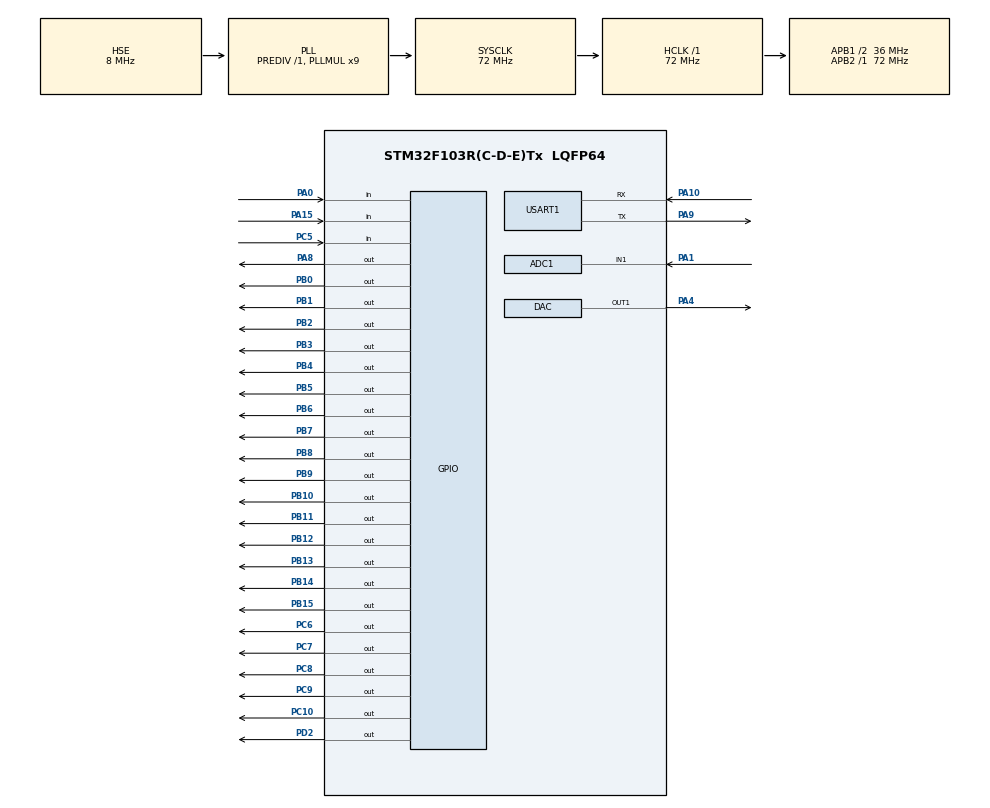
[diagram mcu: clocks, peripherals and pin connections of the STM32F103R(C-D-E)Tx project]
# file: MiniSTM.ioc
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ADC1.Channel-1\#ChannelRegularConversion=ADC_CHANNEL_1
ADC1.EnableAnalogWatchDog=false
ADC1.NbrOfConversionFlag=1
ADC1.Rank-1\#ChannelRegularConversion=1
ADC1.SamplingTime-1\#ChannelRegularConversion=ADC_SAMPLETIME_239CYCLES_5
ADC1.master=1
Mcu.Family=STM32F1
Mcu.Name=STM32F103R(C-D-E)Tx
Mcu.Package=LQFP64
NVIC.PriorityGroup=NVIC_PRIORITYGROUP_4
PA0-WKUP.GPIO_Mode=GPIO_MODE_INPUT
PA0-WKUP.GPIO_PuPd=GPIO_PULLDOWN
PA0-WKUP.Signal=GPIO_Input
PA1.Signal=ADCx_IN1
PA10.Mode=Asynchronous
PA10.Signal=USART1_RX
PA13.Mode=Serial_Wire
PA13.Signal=SYS_JTMS-SWDIO
PA14.Mode=Serial_Wire
PA14.Signal=SYS_JTCK-SWCLK
PA15.GPIO_Mode=GPIO_MODE_INPUT
PA15.GPIO_PuPd=GPIO_PULLUP
PA15.Signal=GPIO_Input
PA4.Signal=COMP_DAC1_group
PA8.GPIO_PuPd=GPIO_PULLUP
PA8.PinState=GPIO_PIN_SET
PA8.Signal=GPIO_Output
PA9.Mode=Asynchronous
PA9.Signal=USART1_TX
PB0.GPIO_PuPd=GPIO_PULLUP
PB0.GPIO_Speed=GPIO_SPEED_FREQ_HIGH
PB0.Signal=GPIO_Output
PB1.GPIO_PuPd=GPIO_PULLUP
PB1.GPIO_Speed=GPIO_SPEED_FREQ_HIGH
PB1.Signal=GPIO_Output
PB10.GPIO_PuPd=GPIO_PULLUP
PB10.GPIO_Speed=GPIO_SPEED_FREQ_HIGH
PB10.Signal=GPIO_Output
PB11.GPIO_PuPd=GPIO_PULLUP
PB11.GPIO_Speed=GPIO_SPEED_FREQ_HIGH
PB11.Signal=GPIO_Output
PB12.GPIO_PuPd=GPIO_PULLUP
PB12.GPIO_Speed=GPIO_SPEED_FREQ_HIGH
PB12.Signal=GPIO_Output
PB13.GPIO_PuPd=GPIO_PULLUP
PB13.GPIO_Speed=GPIO_SPEED_FREQ_HIGH
PB13.Signal=GPIO_Output
PB14.GPIO_PuPd=GPIO_PULLUP
PB14.GPIO_Speed=GPIO_SPEED_FREQ_HIGH
PB14.Signal=GPIO_Output
PB15.GPIO_PuPd=GPIO_PULLUP
PB15.GPIO_Speed=GPIO_SPEED_FREQ_HIGH
PB15.Signal=GPIO_Output
PB2.GPIO_PuPd=GPIO_PULLUP
PB2.GPIO_Speed=GPIO_SPEED_FREQ_HIGH
PB2.Signal=GPIO_Output
PB3.GPIO_PuPd=GPIO_PULLUP
PB3.GPIO_Speed=GPIO_SPEED_FREQ_HIGH
PB3.Signal=GPIO_Output
PB4.GPIO_PuPd=GPIO_PULLUP
PB4.GPIO_Speed=GPIO_SPEED_FREQ_HIGH
PB4.Signal=GPIO_Output
PB5.GPIO_PuPd=GPIO_PULLUP
PB5.GPIO_Speed=GPIO_SPEED_FREQ_HIGH
PB5.Signal=GPIO_Output
PB6.GPIO_PuPd=GPIO_PULLUP
PB6.GPIO_Speed=GPIO_SPEED_FREQ_HIGH
PB6.Signal=GPIO_Output
PB7.GPIO_PuPd=GPIO_PULLUP
PB7.GPIO_Speed=GPIO_SPEED_FREQ_HIGH
PB7.Signal=GPIO_Output
PB8.GPIO_PuPd=GPIO_PULLUP
PB8.GPIO_Speed=GPIO_SPEED_FREQ_HIGH
PB8.Signal=GPIO_Output
PB9.GPIO_PuPd=GPIO_PULLUP
PB9.GPIO_Speed=GPIO_SPEED_FREQ_HIGH
PB9.Signal=GPIO_Output
PC10.GPIO_PuPd=GPIO_PULLUP
PC10.GPIO_Speed=GPIO_SPEED_FREQ_HIGH
PC10.Signal=GPIO_Output
PC14-OSC32_IN.Mode=LSE-External-Oscillator
PC14-OSC32_IN.Signal=RCC_OSC32_IN
PC15-OSC32_OUT.Mode=LSE-External-Oscillator
PC15-OSC32_OUT.Signal=RCC_OSC32_OUT
PC5.GPIO_Mode=GPIO_MODE_INPUT
PC5.GPIO_PuPd=GPIO_PULLUP
PC5.Signal=GPIO_Input
PC6.GPIO_PuPd=GPIO_PULLUP
PC6.GPIO_Speed=GPIO_SPEED_FREQ_HIGH
PC6.Signal=GPIO_Output
PC7.GPIO_PuPd=GPIO_PULLUP
PC7.GPIO_Speed=GPIO_SPEED_FREQ_HIGH
PC7.Signal=GPIO_Output
PC8.GPIO_PuPd=GPIO_PULLUP
PC8.GPIO_Speed=GPIO_SPEED_FREQ_HIGH
PC8.Signal=GPIO_Output
PC9.GPIO_PuPd=GPIO_PULLUP
PC9.GPIO_Speed=GPIO_SPEED_FREQ_HIGH
PC9.Signal=GPIO_Output
PD0-OSC_IN.Mode=HSE-External-Oscillator
PD0-OSC_IN.Signal=RCC_OSC_IN
PD1-OSC_OUT.Mode=HSE-External-Oscillator
PD1-OSC_OUT.Signal=RCC_OSC_OUT
PD2.GPIO_PuPd=GPIO_PULLUP
PD2.PinState=GPIO_PIN_SET
PD2.Signal=GPIO_Output
ProjectManager.HeapSize=0x200
ProjectManager.StackSize=0x400
ProjectManager.TargetToolchain=MDK-ARM V5.32
RCC.ADCPresc=RCC_ADCPCLK2_DIV6
RCC.AHBFreq_Value=72000000
RCC.APB1CLKDivider=RCC_HCLK_DIV2
RCC.APB1Freq_Value=36000000
RCC.APB1TimFreq_Value=72000000
RCC.APB2Freq_Value=72000000
RCC.APB2TimFreq_Value=72000000
RCC.HCLKFreq_Value=72000000
RCC.PLLMUL=RCC_PLL_MUL9
RCC.PLLSourceVirtual=RCC_PLLSOURCE_HSE
RCC.SYSCLKFreq_VALUE=72000000
RCC.SYSCLKSource=RCC_SYSCLKSOURCE_PLLCLK
RCC.USBFreq_Value=72000000
SH.ADCx_IN1.0=ADC1_IN1,IN1
SH.COMP_DAC1_group.0=DAC_OUT1,DAC_OUT1
TIM4.AutoReloadPreload=TIM_AUTORELOAD_PRELOAD_DISABLE
TIM4.Channel-Output\ Compare1\ No\ Output=TIM_CHANNEL_1
TIM4.Period=1000
TIM4.Prescaler=8399
USART1.VirtualMode=VM_ASYNC
VP_TIM4_VS_ClockSourceITR.Mode=TriggerSource_ITR0
board=custom

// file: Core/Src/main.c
/* USER CODE BEGIN Header */
/**
 ******************************************************************************
 * @file           : main.c
 * @brief          : Main program body
 ******************************************************************************
 * @attention
 *
 * Copyright (c) 2022 STMicroelectronics.
 * All rights reserved.
 *
 * This software is licensed under terms that can be found in the LICENSE file
 * in the root directory of this software component.
 * If no LICENSE file comes with this software, it is provided AS-IS.
 *
 ******************************************************************************
 */
/* USER CODE END Header */
#include "main.h"
#include "adc.h"
#include "dac.h"
#include "tim.h"
#include "usart.h"
#include "gpio.h"

/* USER CODE BEGIN Includes */
#include "led.h"
#include "key.h"
#include "lcd.h"
#include "uart.h"
#include "usmart.h"
#include "ad.h"
#include "da.h"
/* USER CODE END Includes */

void SystemClock_Config(void);

int main(void)
{
	/* USER CODE BEGIN 1 */
	uint16_t adcx;
	float temp;
	uint8_t t = 0;
	uint16_t dacval = 0;
	uint8_t key;
	/* USER CODE END 1 */

	/* MCU Configuration--------------------------------------------------------*/

	/* Reset of all peripherals, Initializes the Flash interface and the Systick. */
	HAL_Init();

	/* Configure the system clock */
	SystemClock_Config();

	/* Initialize all configured peripherals */
	MX_GPIO_Init();
	MX_USART1_UART_Init();
	MX_TIM4_Init();
	MX_ADC1_Init();
	MX_DAC_Init();
	/* USER CODE BEGIN 2 */
	LCD_Init();

	HAL_NVIC_EnableIRQ(TIM4_IRQn);
	HAL_NVIC_SetPriority(TIM4_IRQn, 9, 0);
	HAL_TIM_Base_Start_IT(&htim4);

	HAL_NVIC_EnableIRQ(USART1_IRQn);
	HAL_NVIC_SetPriority(USART1_IRQn, 9, 0);
	HAL_UART_Receive_IT(&huart1, (uint8_t *)aRxBuffer, RXBUFFERSIZE);

	HAL_ADCEx_Calibration_Start(&hadc1);
	HAL_DAC_Start(&hdac, DAC_CHANNEL_1);
	HAL_DAC_SetValue(&hdac, DAC_CHANNEL_1, DAC_ALIGN_12B_R, 0);

	POINT_COLOR = RED;
	LCD_ShowString(30, 50, 200, 16, 16, "Mini STM32");
	LCD_ShowString(30, 70, 200, 16, 16, "DAC TEST");
	LCD_ShowString(30, 90, 200, 16, 16, "ATOM@ALIENTEK");
	LCD_ShowString(30, 110, 200, 16, 16, "2019/11/15");
	LCD_ShowString(30, 130, 200, 16, 16, "WK_UP:+  KEY1:-");
	POINT_COLOR = BLUE;
	LCD_ShowString(30, 150, 200, 16, 16, "DAC VAL:");
	LCD_ShowString(30, 170, 200, 16, 16, "DAC VOL:0.000V");
	LCD_ShowString(30, 190, 200, 16, 16, "ADC VOL:0.000V");

	/* USER CODE END 2 */

	/* Infinite loop */
	/* USER CODE BEGIN WHILE */
	while (1)
	{
		t++;
		key = KEY_Scan(0);
		if (key == WKUP_PRES)
		{
			if (dacval < 4000)
				dacval += 200;
			HAL_DAC_SetValue(&hdac, DAC_CHANNEL_1, DAC_ALIGN_12B_R, dacval); //设置DAC值
		}
		else if (key == 2)
		{
			if (dacval > 200)
				dacval -= 200;
			else
				dacval = 0;
			HAL_DAC_SetValue(&hdac, DAC_CHANNEL_1, DAC_ALIGN_12B_R, dacval); //设置DAC值
		}
		if (t == 10 || key == KEY1_PRES || key == WKUP_PRES) // WKUP/KEY1按下了,或者定时时间到了
		{
			adcx = HAL_DAC_GetValue(&hdac, DAC_CHANNEL_1); //读取前面设置DAC的值
			LCD_ShowxNum(94, 150, adcx, 4, 16, 0);		   //显示DAC寄存器值
			temp = (float)adcx * (3.3 / 4096);			   //得到DAC电压值
			adcx = temp;
			LCD_ShowxNum(94, 170, temp, 1, 16, 0); //显示电压值整数部分
			temp -= adcx;
			temp *= 1000;
			LCD_ShowxNum(110, 170, temp, 3, 16, 0X80); //显示电压值的小数部分
			adcx = Get_Adc_Average(ADC_CHANNEL_1, 10); //得到ADC转换值
			temp = (float)adcx * (3.3 / 4096);		   //得到ADC电压值
			adcx = temp;
			LCD_ShowxNum(94, 190, temp, 1, 16, 0); //显示电压值整数部分
			temp -= adcx;
			temp *= 1000;
			LCD_ShowxNum(110, 190, temp, 3, 16, 0X80); //显示电压值的小数部分
			LED0 = !LED0;
			t = 0;
		}
		HAL_Delay(10);
		/* USER CODE END WHILE */

	}
}

void SystemClock_Config(void)
{
	RCC_OscInitTypeDef RCC_OscInitStruct = {0};
	RCC_ClkInitTypeDef RCC_ClkInitStruct = {0};
	RCC_PeriphCLKInitTypeDef PeriphClkInit = {0};

	/** Initializes the RCC Oscillators according to the specified parameters
	 * in the RCC_OscInitTypeDef structure.
	 */
	RCC_OscInitStruct.OscillatorType = RCC_OSCILLATORTYPE_HSE;
	RCC_OscInitStruct.HSEState = RCC_HSE_ON;
	RCC_OscInitStruct.HSEPredivValue = RCC_HSE_PREDIV_DIV1;
	RCC_OscInitStruct.HSIState = RCC_HSI_ON;
	RCC_OscInitStruct.PLL.PLLState = RCC_PLL_ON;
	RCC_OscInitStruct.PLL.PLLSource = RCC_PLLSOURCE_HSE;
	RCC_OscInitStruct.PLL.PLLMUL = RCC_PLL_MUL9;
	if (HAL_RCC_OscConfig(&RCC_OscInitStruct) != HAL_OK)
	{
		Error_Handler();
	}

	/** Initializes the CPU, AHB and APB buses clocks
	 */
	RCC_ClkInitStruct.ClockType = RCC_CLOCKTYPE_HCLK | RCC_CLOCKTYPE_SYSCLK | RCC_CLOCKTYPE_PCLK1 | RCC_CLOCKTYPE_PCLK2;
	RCC_ClkInitStruct.SYSCLKSource = RCC_SYSCLKSOURCE_PLLCLK;
	RCC_ClkInitStruct.AHBCLKDivider = RCC_SYSCLK_DIV1;
	RCC_ClkInitStruct.APB1CLKDivider = RCC_HCLK_DIV2;
	RCC_ClkInitStruct.APB2CLKDivider = RCC_HCLK_DIV1;

	if (HAL_RCC_ClockConfig(&RCC_ClkInitStruct, FLASH_LATENCY_2) != HAL_OK)
	{
		Error_Handler();
	}
	PeriphClkInit.PeriphClockSelection = RCC_PERIPHCLK_ADC;
	PeriphClkInit.AdcClockSelection = RCC_ADCPCLK2_DIV6;
	if (HAL_RCCEx_PeriphCLKConfig(&PeriphClkInit) != HAL_OK)
	{
		Error_Handler();
	}
}

void Error_Handler(void)
{
	__disable_irq();
	while (1)
	{
	}
}
